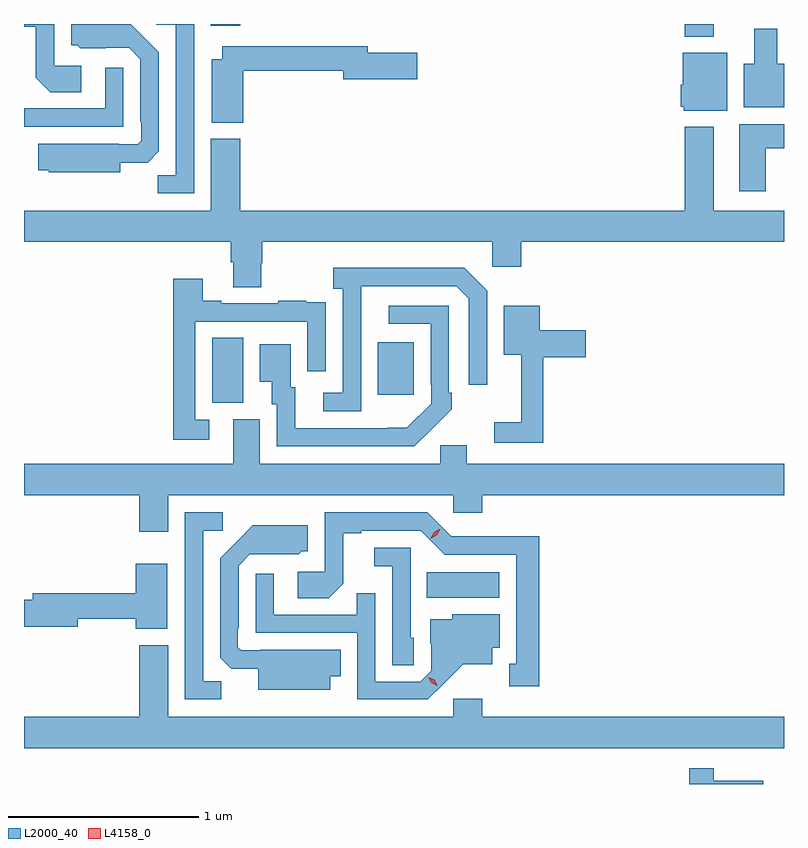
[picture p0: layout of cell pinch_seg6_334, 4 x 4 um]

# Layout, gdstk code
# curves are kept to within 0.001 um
import gdstk
lib = gdstk.Library(unit=1e-6, precision=1e-09)
def R(c, l, rs):  # rectangles x0, y0, x1, y1
    for r in rs: c.add(gdstk.rectangle(r[:2], r[2:], *l))
def P(c, l, *ps):  # polygons
    for p in ps: c.add(gdstk.Polygon(p, *l))
L2000_40 = (2000, 40)
L4158_0 = (4158, 0)

pinch_seg6_334 = lib.new_cell('pinch_seg6_334')
R(pinch_seg6_334, L2000_40, [(749.866,941.468,750.247,941.602), (748.736,942.493,748.9,942.836), (749.609,942.537,749.797,942.811), (751.223,944.42,751.375,944.487), (748.73,944.478,748.883,944.487)])
P(pinch_seg6_334, L2000_40, [(748.252,943.757),(748.396,943.757),(748.455,943.816),(748.455,944.338),(748.308,944.487),(747.995,944.487),(747.995,944.376),(748.026,944.376),(748.042,944.36),(748.299,944.361),(748.359,944.301),(748.359,943.972),(748.362,943.972),(748.362,943.872),(748.344,943.854),(748.244,943.854),(748.244,943.858),(747.82,943.858),(747.82,943.718),(747.876,943.718),(747.876,943.706),(748.252,943.706)],
  [(748.641,944.487),(748.443,944.487),(748.443,944.484),(748.545,944.484),(748.545,943.691),(748.45,943.691),(748.45,943.596),(748.641,943.596)],
  [(748.048,944.268),(747.906,944.268),(747.906,944.487),(747.746,944.487),(747.746,944.472),(747.807,944.472),(747.807,944.204),(747.883,944.128),(748.048,944.128)],
  [(751.746,944.278),(751.711,944.278),(751.711,944.461),(751.589,944.461),(751.589,944.278),(751.535,944.278),(751.535,944.048),(751.746,944.048)],
  [(748.9,944.242),(749.426,944.242),(749.426,944.195),(749.815,944.195),(749.815,944.337),(749.554,944.337),(749.554,944.371),(748.79,944.371),(748.79,944.302),(748.733,944.302),(748.733,943.967),(748.9,943.967)],
  [(751.447,944.335),(751.214,944.335),(751.214,944.166),(751.202,944.166),(751.202,944.052),(751.218,944.052),(751.218,944.03),(751.447,944.03)],
  [(748.269,944.257),(748.173,944.257),(748.173,944.043),(747.746,944.043),(747.746,943.947),(748.269,943.947)],
  [(751.651,943.832),(751.746,943.832),(751.746,943.96),(751.511,943.96),(751.511,943.608),(751.651,943.608)],
  [(748.995,943.227),(749,943.227),(749,943.34),(750.21,943.34),(750.21,943.209),(750.362,943.209),(750.362,943.34),(751.746,943.34),(751.746,943.504),(751.375,943.504),(751.375,943.945),(751.223,943.945),(751.223,943.504),(748.883,943.504),(748.883,943.882),(748.73,943.882),(748.73,943.504),(747.746,943.504),(747.746,943.34),(748.835,943.34),(748.835,943.234),(748.847,943.234),(748.847,943.102),(748.995,943.102)],
  [(749.52,942.907),(749.521,943.107),(750.021,943.107),(750.087,943.041),(750.087,942.588),(750.183,942.588),(750.183,943.083),(750.062,943.204),(749.373,943.204),(749.373,943.094),(749.424,943.094),(749.424,942.546),(749.322,942.546),(749.322,942.45),(749.52,942.45)],
  [(748.72,942.405),(748.647,942.405),(748.647,942.921),(749.238,942.921),(749.238,942.66),(749.334,942.66),(749.334,942.914),(749.333,942.914),(749.333,943.023),(749.231,943.023),(749.231,943.03),(749.083,943.03),(749.083,943.017),(748.783,943.017),(748.783,943.03),(748.687,943.03),(748.687,943.147),(748.531,943.147),(748.531,942.3),(748.72,942.3)],
  [(749.891,942.355),(749.892,942.354),(749.997,942.459),(749.997,942.547),(749.982,942.547),(749.982,943.005),(749.667,943.005),(749.667,942.909),(749.886,942.909),(749.886,942.589),(749.889,942.589),(749.889,942.489),(749.761,942.361),(749.173,942.36),(749.173,942.576),(749.149,942.576),(749.149,942.802),(748.988,942.802),(748.988,942.605),(749.051,942.605),(749.051,942.486),(749.076,942.486),(749.076,942.264),(749.8,942.264)],
  [(750.479,942.734),(750.703,942.734),(750.703,942.876),(750.46,942.876),(750.46,943.003),(750.272,943.003),(750.272,942.746),(750.362,942.746),(750.362,942.391),(750.222,942.391),(750.222,942.282),(750.479,942.282)],
  [(748.504,942.008),(750.006,942.008),(750.006,941.915),(750.158,941.915),(750.158,942.008),(751.746,942.008),(751.746,942.172),(750.076,942.172),(750.076,942.27),(749.937,942.27),(749.937,942.172),(748.987,942.172),(748.987,942.408),(748.847,942.408),(748.847,942.172),(747.746,942.172),(747.746,942.008),(748.352,942.008),(748.352,941.814),(748.504,941.814)],
  [(748.785,941.027),(748.689,941.027),(748.689,941.82),(748.792,941.82),(748.792,941.916),(748.593,941.916),(748.593,940.932),(748.785,940.932)],
  [(750.457,941.792),(750.216,941.792),(750.216,941.79),(749.994,941.79),(749.868,941.916),(749.328,941.916),(749.328,941.604),(749.187,941.604),(749.187,941.464),(749.351,941.464),(749.427,941.54),(749.427,941.808),(749.521,941.808),(749.521,941.82),(749.835,941.82),(749.961,941.694),(750.338,941.694),(750.338,941.121),(750.299,941.121),(750.299,941.001),(750.457,941.001)],
  [(749.359,941.054),(749.414,941.054),(749.414,941.194),(748.99,941.194),(748.99,941.19),(748.89,941.19),(748.872,941.208),(748.872,941.308),(748.875,941.308),(748.875,941.637),(748.935,941.697),(749.192,941.696),(749.208,941.712),(749.239,941.712),(749.239,941.848),(748.951,941.848),(748.779,941.674),(748.779,941.152),(748.838,941.093),(748.979,941.093),(748.979,940.982),(749.359,940.982)],
  [(749.796,941.256),(749.781,941.256),(749.781,941.73),(749.589,941.73),(749.589,941.633),(749.685,941.633),(749.685,941.113),(749.796,941.113)],
  [(748.501,941.647),(748.334,941.647),(748.334,941.492),(747.791,941.492),(747.791,941.456),(747.746,941.456),(747.746,941.314),(748.03,941.314),(748.03,941.356),(748.334,941.356),(748.334,941.303),(748.501,941.303)],
  [(749.956,941.015),(750.059,941.117),(750.211,941.117),(750.211,941.204),(750.25,941.204),(750.25,941.38),(750,941.38),(750,941.353),(749.885,941.353),(749.885,941.224),(749.889,941.224),(749.889,941.082),(749.832,941.025),(749.595,941.025),(749.595,941.492),(749.497,941.492),(749.497,941.379),(749.061,941.379),(749.061,941.593),(748.965,941.593),(748.965,941.283),(749.499,941.283),(749.499,940.932),(749.872,940.932)],
  [(751.746,940.84),(750.158,940.84),(750.158,940.936),(750.006,940.936),(750.006,940.84),(748.504,940.84),(748.504,941.218),(748.352,941.218),(748.352,940.84),(747.746,940.84),(747.746,940.676),(751.746,940.676)],
  [(751.636,940.504),(751.375,940.504),(751.375,940.57),(751.246,940.57),(751.246,940.487),(751.636,940.487)])
P(pinch_seg6_334, L4158_0, [(749.888,941.78),(749.888,941.78),(749.906,941.813),(749.938,941.831),(749.938,941.831),(749.938,941.831),(749.92,941.799),(749.889,941.78)],
  [(749.922,941.005),(749.891,941.021),(749.874,941.05),(749.874,941.05),(749.874,941.05),(749.905,941.035),(749.922,941.006),(749.922,941.005)])

lib.write_gds('pinch_seg6_334.gds')
